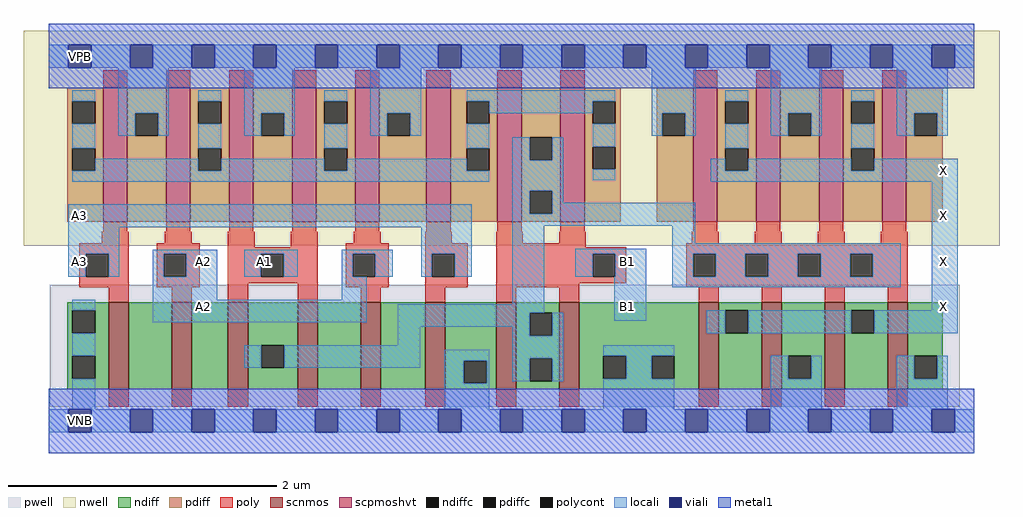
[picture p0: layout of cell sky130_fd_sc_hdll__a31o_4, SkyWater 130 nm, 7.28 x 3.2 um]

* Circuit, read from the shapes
.subckt sky130_fd_sc_hdll__a31o_4 A1 A2 A3 B1 VGND VNB VPB VPWR X
XM1 n1 A3 VGND VNB sky130_fd_pr__nfet_01v8 w=0.65 l=0.15
XM2 n2 A2 n1 VNB sky130_fd_pr__nfet_01v8 w=0.65 l=0.15
XM3 n3 A1 n2 VNB sky130_fd_pr__nfet_01v8 w=0.65 l=0.15
XM4 n4 A1 n3 VNB sky130_fd_pr__nfet_01v8 w=0.65 l=0.15
XM5 n5 A2 n4 VNB sky130_fd_pr__nfet_01v8 w=0.65 l=0.15
XM6 VGND A3 n5 VNB sky130_fd_pr__nfet_01v8 w=0.65 l=0.15
XM7 n3 B1 VGND VNB sky130_fd_pr__nfet_01v8 w=0.65 l=0.15 m=2
XM8 X n3 VGND VNB sky130_fd_pr__nfet_01v8 w=0.65 l=0.15 m=4
XM9 VPWR A3 n6 VPB sky130_fd_pr__pfet_01v8_hvt w=1 l=0.18 m=2
XM10 n6 A2 VPWR VPB sky130_fd_pr__pfet_01v8_hvt w=1 l=0.18 m=2
XM11 VPWR A1 n6 VPB sky130_fd_pr__pfet_01v8_hvt w=1 l=0.18 m=2
XM12 n3 B1 n6 VPB sky130_fd_pr__pfet_01v8_hvt w=1 l=0.18 m=2
XM13 X n3 VPWR VPB sky130_fd_pr__pfet_01v8_hvt w=1 l=0.18 m=4
.ends

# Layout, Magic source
magic
tech sky130A
magscale 1 2
<< nwell >>
rect -38 261 1418 582
<< pwell >>
rect 1 21 1359 203
rect 30 -17 64 21
<< scnmos >>
rect 89 47 119 177
rect 183 47 213 177
rect 267 47 297 177
rect 371 47 401 177
rect 465 47 495 177
rect 561 47 591 177
rect 667 47 697 177
rect 761 47 791 177
rect 969 47 999 177
rect 1063 47 1093 177
rect 1157 47 1187 177
rect 1251 47 1281 177
<< scpmoshvt >>
rect 81 297 117 497
rect 175 297 211 497
rect 269 297 305 497
rect 363 297 399 497
rect 457 297 493 497
rect 563 297 599 497
rect 669 297 705 497
rect 763 297 799 497
rect 961 297 997 497
rect 1055 297 1091 497
rect 1149 297 1185 497
rect 1243 297 1279 497
<< ndiff >>
rect 27 165 89 177
rect 27 131 35 165
rect 69 131 89 165
rect 27 97 89 131
rect 27 63 35 97
rect 69 63 89 97
rect 27 47 89 63
rect 119 47 183 177
rect 213 47 267 177
rect 297 113 371 177
rect 297 79 317 113
rect 351 79 371 113
rect 297 47 371 79
rect 401 47 465 177
rect 495 47 561 177
rect 591 90 667 177
rect 591 56 619 90
rect 653 56 667 90
rect 591 47 667 56
rect 697 161 761 177
rect 697 127 717 161
rect 751 127 761 161
rect 697 93 761 127
rect 697 59 717 93
rect 751 59 761 93
rect 697 47 761 59
rect 791 97 969 177
rect 791 63 827 97
rect 861 63 899 97
rect 933 63 969 97
rect 791 47 969 63
rect 999 165 1063 177
rect 999 131 1009 165
rect 1043 131 1063 165
rect 999 47 1063 131
rect 1093 97 1157 177
rect 1093 63 1103 97
rect 1137 63 1157 97
rect 1093 47 1157 63
rect 1187 165 1251 177
rect 1187 131 1197 165
rect 1231 131 1251 165
rect 1187 47 1251 131
rect 1281 97 1333 177
rect 1281 63 1291 97
rect 1325 63 1333 97
rect 1281 47 1333 63
<< pdiff >>
rect 27 477 81 497
rect 27 443 35 477
rect 69 443 81 477
rect 27 407 81 443
rect 27 373 35 407
rect 69 373 81 407
rect 27 297 81 373
rect 117 459 175 497
rect 117 425 129 459
rect 163 425 175 459
rect 117 297 175 425
rect 211 477 269 497
rect 211 443 223 477
rect 257 443 269 477
rect 211 407 269 443
rect 211 373 223 407
rect 257 373 269 407
rect 211 297 269 373
rect 305 459 363 497
rect 305 425 317 459
rect 351 425 363 459
rect 305 297 363 425
rect 399 477 457 497
rect 399 443 411 477
rect 445 443 457 477
rect 399 407 457 443
rect 399 373 411 407
rect 445 373 457 407
rect 399 297 457 373
rect 493 459 563 497
rect 493 425 505 459
rect 539 425 563 459
rect 493 297 563 425
rect 599 477 669 497
rect 599 443 623 477
rect 657 443 669 477
rect 599 407 669 443
rect 599 373 623 407
rect 657 373 669 407
rect 599 297 669 373
rect 705 423 763 497
rect 705 389 717 423
rect 751 389 763 423
rect 705 343 763 389
rect 705 309 717 343
rect 751 309 763 343
rect 705 297 763 309
rect 799 477 853 497
rect 799 443 811 477
rect 845 443 853 477
rect 799 409 853 443
rect 799 375 811 409
rect 845 375 853 409
rect 799 297 853 375
rect 907 459 961 497
rect 907 425 915 459
rect 949 425 961 459
rect 907 297 961 425
rect 997 477 1055 497
rect 997 443 1009 477
rect 1043 443 1055 477
rect 997 407 1055 443
rect 997 373 1009 407
rect 1043 373 1055 407
rect 997 297 1055 373
rect 1091 459 1149 497
rect 1091 425 1103 459
rect 1137 425 1149 459
rect 1091 297 1149 425
rect 1185 477 1243 497
rect 1185 443 1197 477
rect 1231 443 1243 477
rect 1185 407 1243 443
rect 1185 373 1197 407
rect 1231 373 1243 407
rect 1185 297 1243 373
rect 1279 459 1333 497
rect 1279 425 1291 459
rect 1325 425 1333 459
rect 1279 297 1333 425
<< ndiffc >>
rect 35 131 69 165
rect 35 63 69 97
rect 317 79 351 113
rect 619 56 653 90
rect 717 127 751 161
rect 717 59 751 93
rect 827 63 861 97
rect 899 63 933 97
rect 1009 131 1043 165
rect 1103 63 1137 97
rect 1197 131 1231 165
rect 1291 63 1325 97
<< pdiffc >>
rect 35 443 69 477
rect 35 373 69 407
rect 129 425 163 459
rect 223 443 257 477
rect 223 373 257 407
rect 317 425 351 459
rect 411 443 445 477
rect 411 373 445 407
rect 505 425 539 459
rect 623 443 657 477
rect 623 373 657 407
rect 717 389 751 423
rect 717 309 751 343
rect 811 443 845 477
rect 811 375 845 409
rect 915 425 949 459
rect 1009 443 1043 477
rect 1009 373 1043 407
rect 1103 425 1137 459
rect 1197 443 1231 477
rect 1197 373 1231 407
rect 1291 425 1325 459
<< poly >>
rect 81 497 117 523
rect 175 497 211 523
rect 269 497 305 523
rect 363 497 399 523
rect 457 497 493 523
rect 563 497 599 523
rect 669 497 705 523
rect 763 497 799 523
rect 961 497 997 523
rect 1055 497 1091 523
rect 1149 497 1185 523
rect 1243 497 1279 523
rect 81 282 117 297
rect 175 282 211 297
rect 269 282 305 297
rect 363 282 399 297
rect 457 282 493 297
rect 563 282 599 297
rect 669 282 705 297
rect 763 282 799 297
rect 961 282 997 297
rect 1055 282 1091 297
rect 1149 282 1185 297
rect 1243 282 1279 297
rect 79 265 119 282
rect 173 265 213 282
rect 45 249 119 265
rect 45 215 55 249
rect 89 215 119 249
rect 45 199 119 215
rect 161 249 225 265
rect 161 215 171 249
rect 205 215 225 249
rect 161 199 225 215
rect 267 259 307 282
rect 361 259 401 282
rect 455 265 495 282
rect 561 265 601 282
rect 667 265 707 282
rect 761 265 801 282
rect 959 265 999 282
rect 1053 265 1093 282
rect 1147 265 1187 282
rect 1241 265 1281 282
rect 267 249 401 259
rect 267 215 316 249
rect 350 215 401 249
rect 267 205 401 215
rect 89 177 119 199
rect 183 177 213 199
rect 267 177 297 205
rect 371 177 401 205
rect 443 249 507 265
rect 443 215 453 249
rect 487 215 507 249
rect 443 199 507 215
rect 561 249 625 265
rect 561 215 571 249
rect 605 215 625 249
rect 561 199 625 215
rect 667 259 801 265
rect 667 249 861 259
rect 667 215 811 249
rect 845 215 861 249
rect 667 205 861 215
rect 951 249 1281 265
rect 951 215 961 249
rect 995 215 1039 249
rect 1073 215 1117 249
rect 1151 215 1195 249
rect 1229 215 1281 249
rect 667 199 791 205
rect 951 199 1281 215
rect 465 177 495 199
rect 561 177 591 199
rect 667 177 697 199
rect 761 177 791 199
rect 969 177 999 199
rect 1063 177 1093 199
rect 1157 177 1187 199
rect 1251 177 1281 199
rect 89 21 119 47
rect 183 21 213 47
rect 267 21 297 47
rect 371 21 401 47
rect 465 21 495 47
rect 561 21 591 47
rect 667 21 697 47
rect 761 21 791 47
rect 969 21 999 47
rect 1063 21 1093 47
rect 1157 21 1187 47
rect 1251 21 1281 47
<< polycont >>
rect 55 215 89 249
rect 171 215 205 249
rect 316 215 350 249
rect 453 215 487 249
rect 571 215 605 249
rect 811 215 845 249
rect 961 215 995 249
rect 1039 215 1073 249
rect 1117 215 1151 249
rect 1195 215 1229 249
<< locali >>
rect 0 527 29 561
rect 63 527 121 561
rect 155 527 213 561
rect 247 527 305 561
rect 339 527 397 561
rect 431 527 489 561
rect 523 527 581 561
rect 615 527 673 561
rect 707 527 765 561
rect 799 527 857 561
rect 891 527 949 561
rect 983 527 1041 561
rect 1075 527 1133 561
rect 1167 527 1225 561
rect 1259 527 1317 561
rect 1351 527 1380 561
rect 35 477 69 493
rect 35 407 69 443
rect 103 459 179 527
rect 103 425 129 459
rect 163 425 179 459
rect 223 477 257 493
rect 223 407 257 443
rect 291 459 367 527
rect 291 425 317 459
rect 351 425 367 459
rect 411 477 445 493
rect 69 373 223 391
rect 411 407 445 443
rect 479 459 555 527
rect 479 425 505 459
rect 539 425 555 459
rect 623 477 845 493
rect 657 459 811 477
rect 257 373 411 391
rect 623 407 657 443
rect 445 373 623 391
rect 35 357 657 373
rect 691 389 717 423
rect 751 389 767 423
rect 691 343 767 389
rect 811 409 845 443
rect 899 459 965 527
rect 899 425 915 459
rect 949 425 965 459
rect 1009 477 1043 493
rect 1009 407 1043 443
rect 1077 459 1153 527
rect 1077 425 1103 459
rect 1137 425 1153 459
rect 1197 477 1231 493
rect 811 359 845 375
rect 987 373 1009 391
rect 1197 407 1231 443
rect 1265 459 1341 527
rect 1265 425 1291 459
rect 1325 425 1341 459
rect 1043 373 1197 391
rect 1231 373 1356 391
rect 987 357 1356 373
rect 29 289 631 323
rect 29 249 105 289
rect 29 215 55 249
rect 89 215 105 249
rect 155 249 251 255
rect 155 215 171 249
rect 205 215 251 249
rect 291 249 371 255
rect 291 215 316 249
rect 350 215 371 249
rect 437 249 513 255
rect 437 215 453 249
rect 487 215 513 249
rect 555 249 631 289
rect 555 215 571 249
rect 605 215 631 249
rect 691 309 717 343
rect 751 325 767 343
rect 751 309 964 325
rect 691 291 964 309
rect 155 181 251 215
rect 437 181 474 215
rect 35 165 69 181
rect 155 147 474 181
rect 691 174 739 291
rect 930 265 964 291
rect 785 249 891 257
rect 785 215 811 249
rect 845 215 891 249
rect 520 161 739 174
rect 35 97 69 131
rect 520 140 717 161
rect 520 113 554 140
rect 291 79 317 113
rect 351 79 554 113
rect 691 127 717 140
rect 751 127 767 161
rect 843 149 891 215
rect 930 249 1271 265
rect 930 215 961 249
rect 995 215 1039 249
rect 1073 215 1117 249
rect 1151 215 1195 249
rect 1229 215 1271 249
rect 930 199 1271 215
rect 1317 165 1356 357
rect 981 131 1009 165
rect 1043 131 1197 165
rect 1231 131 1356 165
rect 590 90 657 106
rect 35 17 69 63
rect 590 56 619 90
rect 653 56 657 90
rect 691 93 767 127
rect 691 59 717 93
rect 751 59 767 93
rect 827 97 933 113
rect 861 63 899 97
rect 590 17 657 56
rect 827 17 933 63
rect 1077 63 1103 97
rect 1137 63 1153 97
rect 1077 17 1153 63
rect 1265 63 1291 97
rect 1325 63 1341 97
rect 1265 17 1341 63
rect 0 -17 29 17
rect 63 -17 121 17
rect 155 -17 213 17
rect 247 -17 305 17
rect 339 -17 397 17
rect 431 -17 489 17
rect 523 -17 581 17
rect 615 -17 673 17
rect 707 -17 765 17
rect 799 -17 857 17
rect 891 -17 949 17
rect 983 -17 1041 17
rect 1075 -17 1133 17
rect 1167 -17 1225 17
rect 1259 -17 1317 17
rect 1351 -17 1380 17
<< viali >>
rect 29 527 63 561
rect 121 527 155 561
rect 213 527 247 561
rect 305 527 339 561
rect 397 527 431 561
rect 489 527 523 561
rect 581 527 615 561
rect 673 527 707 561
rect 765 527 799 561
rect 857 527 891 561
rect 949 527 983 561
rect 1041 527 1075 561
rect 1133 527 1167 561
rect 1225 527 1259 561
rect 1317 527 1351 561
rect 29 -17 63 17
rect 121 -17 155 17
rect 213 -17 247 17
rect 305 -17 339 17
rect 397 -17 431 17
rect 489 -17 523 17
rect 581 -17 615 17
rect 673 -17 707 17
rect 765 -17 799 17
rect 857 -17 891 17
rect 949 -17 983 17
rect 1041 -17 1075 17
rect 1133 -17 1167 17
rect 1225 -17 1259 17
rect 1317 -17 1351 17
<< metal1 >>
rect 0 561 1380 592
rect 0 527 29 561
rect 63 527 121 561
rect 155 527 213 561
rect 247 527 305 561
rect 339 527 397 561
rect 431 527 489 561
rect 523 527 581 561
rect 615 527 673 561
rect 707 527 765 561
rect 799 527 857 561
rect 891 527 949 561
rect 983 527 1041 561
rect 1075 527 1133 561
rect 1167 527 1225 561
rect 1259 527 1317 561
rect 1351 527 1380 561
rect 0 496 1380 527
rect 0 17 1380 48
rect 0 -17 29 17
rect 63 -17 121 17
rect 155 -17 213 17
rect 247 -17 305 17
rect 339 -17 397 17
rect 431 -17 489 17
rect 523 -17 581 17
rect 615 -17 673 17
rect 707 -17 765 17
rect 799 -17 857 17
rect 891 -17 949 17
rect 983 -17 1041 17
rect 1075 -17 1133 17
rect 1167 -17 1225 17
rect 1259 -17 1317 17
rect 1351 -17 1380 17
rect 0 -48 1380 -17
<< labels >>
flabel locali s 846 153 880 187 0 FreeSans 200 0 0 0 B1
port 4 nsew signal input
flabel locali s 213 153 247 187 0 FreeSans 200 0 0 0 A2
port 2 nsew signal input
flabel locali s 29 289 63 323 0 FreeSans 200 0 0 0 A3
port 3 nsew signal input
flabel locali s 305 221 339 255 0 FreeSans 200 0 0 0 A1
port 1 nsew signal input
flabel locali s 29 221 63 255 0 FreeSans 200 0 0 0 A3
port 3 nsew signal input
flabel locali s 846 221 880 255 0 FreeSans 200 0 0 0 B1
port 4 nsew signal input
flabel locali s 1317 221 1351 255 0 FreeSans 200 0 0 0 X
port 9 nsew signal output
flabel locali s 1317 153 1351 187 0 FreeSans 200 0 0 0 X
port 9 nsew signal output
flabel locali s 1317 357 1351 391 0 FreeSans 200 0 0 0 X
port 9 nsew signal output
flabel locali s 213 221 247 255 0 FreeSans 200 0 0 0 A2
port 2 nsew signal input
flabel locali s 1317 289 1351 323 0 FreeSans 200 0 0 0 X
port 9 nsew signal output
flabel pwell s 30 -17 64 17 0 FreeSans 200 0 0 0 VNB
port 6 nsew ground bidirectional
flabel nwell s 30 527 64 561 0 FreeSans 200 0 0 0 VPB
port 7 nsew power bidirectional
flabel metal1 s 30 -17 64 17 0 FreeSans 200 0 0 0 VGND
port 5 nsew ground bidirectional
flabel metal1 s 30 527 64 561 0 FreeSans 200 0 0 0 VPWR
port 8 nsew power bidirectional
<< properties >>
string LEFsite unithd
string LEFclass CORE
string FIXED_BBOX 0 0 1380 544
string GDS_FILE $PDKPATH/libs.ref/sky130_fd_sc_hdll/gds/sky130_fd_sc_hdll.gds
string LEFsymmetry X Y R90
string GDS_END 1385746
string GDS_START 1375540
string LEFproperties maskLayoutSubType "abstract" prCellType "standard" originalViewName "layout"
<< end >>
